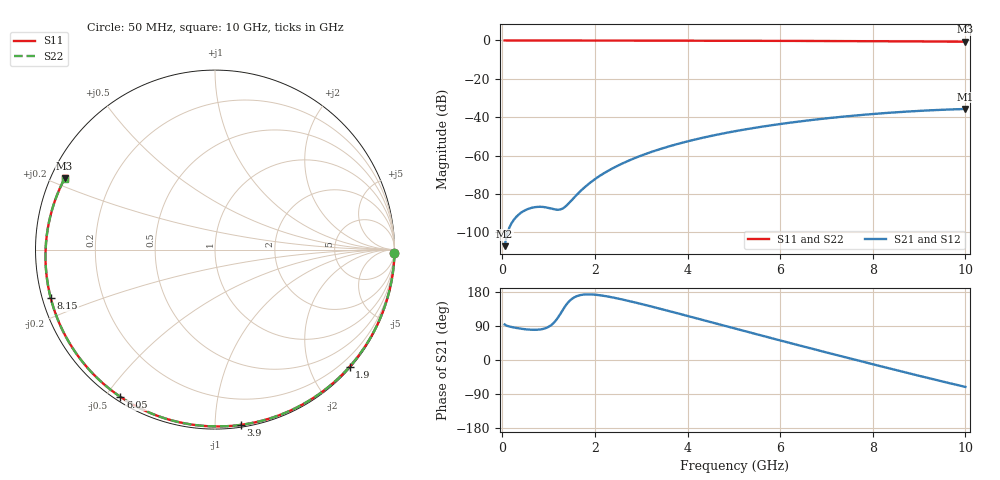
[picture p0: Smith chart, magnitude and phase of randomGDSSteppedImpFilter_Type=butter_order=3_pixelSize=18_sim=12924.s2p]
! freq	dB(S11)	phase(S11)	dB(S12)	phase(S12)
!  dB(S21)	phase(S21)	dB(S22)	phase(S22)
!S-par simulation data
#  GHz  S  DB  R 50
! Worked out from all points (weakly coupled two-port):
!   200 points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, 50 MHz to 10 GHz, reference 50 ohm
!   highest |S21| = -35.72 dB at 10 GHz (marker M1); lowest = -107.3 dB at 50 MHz (marker M2)
!   lowest |S11| = -0.7 dB at 10 GHz (marker M3), VSWR 26.36, Z = 1.99 + j11.2 ohm
!   |S11| at or under -10 dB: nowhere
!   |S22| runs from -0.7 to 0.0 dB; largest |S21 - S12| = 0
!   S11 on the Smith chart (normalised r, x): 50 MHz: open; 1.9 GHz: 0.02, -2.67; 3.9 GHz: 0.02, -1.16; 6.05 GHz: 0.02, -0.55; 8.15 GHz: 0.02, -0.15; 10 GHz: 0.04, +0.22
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0.05  -0.00 -1.1  -107.26 93.8  -107.26 93.8  -0.00 -1.1
0.8  -0.02 -17.5  -86.74 80.3  -86.74 80.3  -0.02 -17.5
1.6  -0.04 -34.7  -80.68 168.0  -80.68 168.0  -0.04 -34.7
1.65  -0.05 -35.8  -79.45 170.2  -79.45 170.2  -0.05 -35.8
1.75  -0.05 -37.9  -77.16 172.6  -77.16 172.6  -0.05 -37.9
1.9  -0.05 -41.1  -74.12 173.2  -74.12 173.2  -0.05 -41.0
2.2  -0.06 -47.3  -69.16 169.2  -69.16 169.2  -0.06 -47.3
2.55  -0.07 -54.6  -64.63 160.8  -64.63 160.8  -0.07 -54.6
2.95  -0.08 -62.8  -60.49 149.4  -60.49 149.4  -0.08 -62.7
3.4  -0.10 -71.8  -56.70 135.5  -56.70 135.5  -0.10 -71.8
3.9  -0.11 -81.7  -53.23 119.5  -53.23 119.5  -0.11 -81.7
4.45  -0.13 -92.4  -50.08 101.7  -50.08 101.7  -0.13 -92.4
5.05  -0.16 -103.8  -47.21 82.2  -47.21 82.2  -0.16 -103.8
6.05  -0.22 -122.7  -43.40 50.0  -43.40 50.0  -0.22 -122.7
6.7  -0.27 -135.0  -41.42 29.4  -41.42 29.4  -0.27 -135.0
7.45  -0.33 -149.5  -39.52 5.9  -39.52 5.9  -0.33 -149.4
8.15  -0.41 -163.5  -38.07 -15.8  -38.07 -15.8  -0.41 -163.4
8.35  -0.43 -167.6  -37.71 -21.9  -37.71 -21.9  -0.43 -167.6
8.8  -0.49 -177.2  -37.00 -35.6  -37.00 -35.6  -0.49 -177.2
9.2  -0.54 173.9  -36.47 -47.7  -36.47 -47.7  -0.54 173.9
9.6  -0.60 164.6  -36.04 -59.5  -36.04 -59.5  -0.60 164.6
10  -0.66 154.7  -35.72 -71.0  -35.72 -71.0  -0.66 154.7
